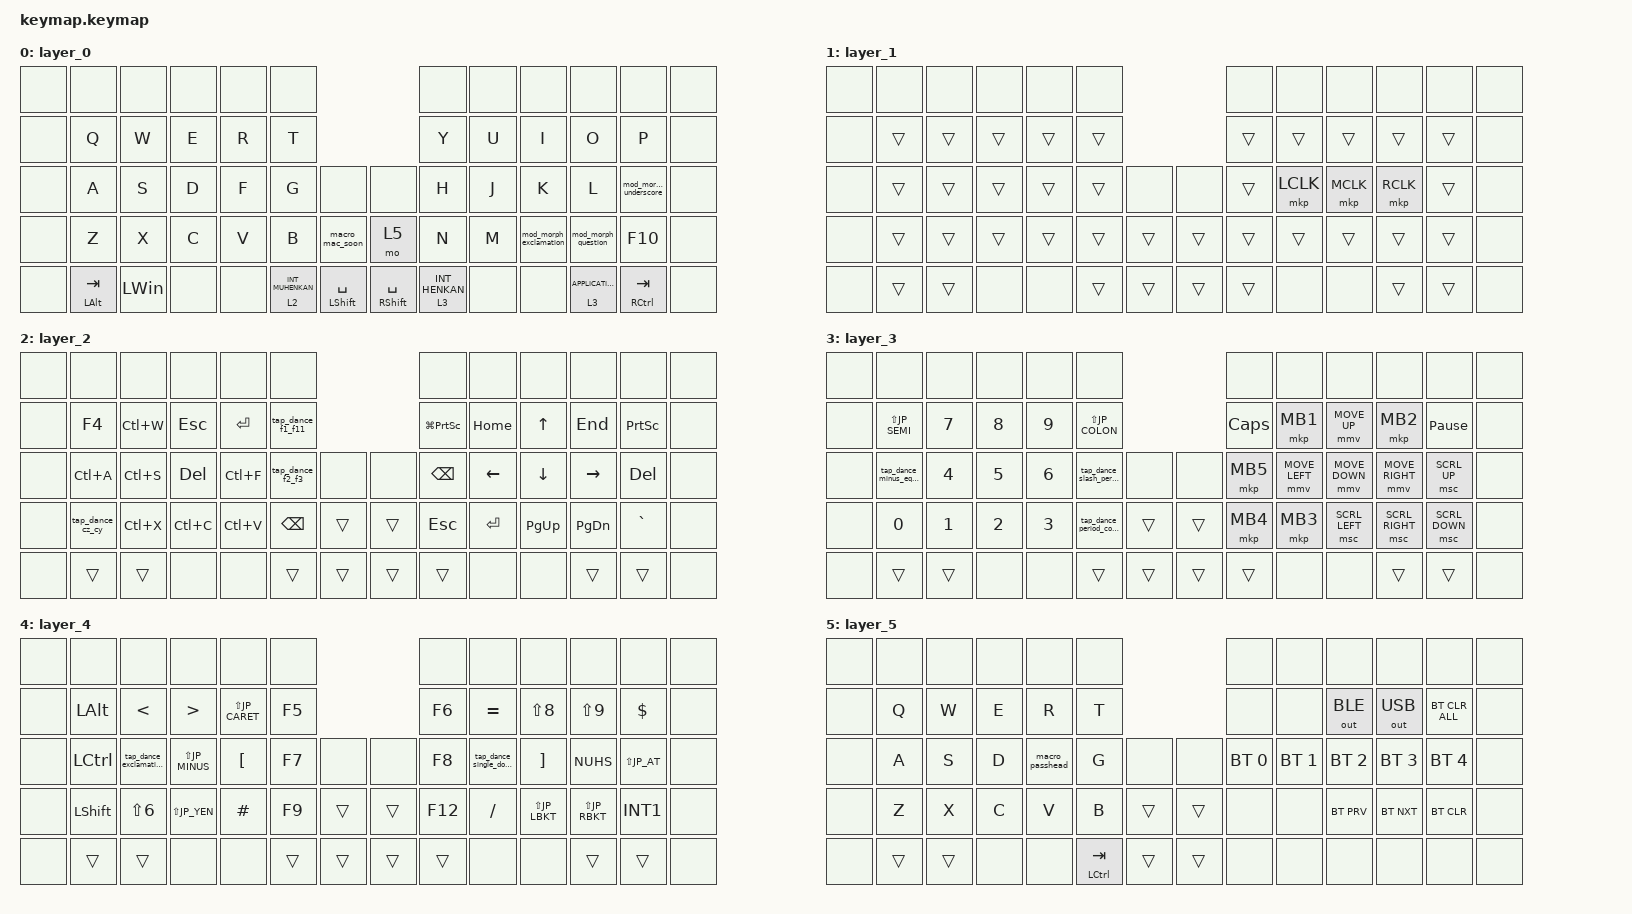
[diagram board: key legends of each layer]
#include <behaviors.dtsi>
#include <dt-bindings/zmk/bt.h>
#include <dt-bindings/zmk/keys.h>
#include <dt-bindings/zmk/outputs.h>
#include <dt-bindings/zmk/pointing.h>

#define JP_ZKHK  GRAVE        // Zenkaku ↔ Hankaku ↔ Kanji (半角 ↔ 全角 ↔ 漢字)
#define JP_MINUS MINUS        // -
#define JP_CARET EQUAL        // ^
#define JP_YEN   INT3         // ¥
#define JP_AT    LBKT         // @
#define JP_LBKT  RBKT         // [
#define JP_EISU  CAPS         // Eisū (英数)
#define JP_SEMI  SEMI         // ;
#define JP_COLON SQT          // :
#define JP_RBKT  NUHS         // ]
#define JP_COMMA COMMA        // ,
#define JP_DOT   DOT          // .
#define JP_SLASH SLASH        // /
#define JP_BSLH  INT1         // (backslash)
#define JP_MHEN  INT5         // Muhenkan (無変換)
#define JP_HENK  INT4         // Henkan (変換)
#define JP_KANA  INT2         // Katakana ↔ Hiragana ↔ Rōmaji (カタカナ ↔ ひらがな ↔ ローマ字)
#define JP_EXCL  LS(N1)       // !
#define JP_DQT   LS(N2)       // "
#define JP_HASH  LS(N3)       // #
#define JP_DLLR  LS(N4)       // $
#define JP_PRCNT LS(N5)       // %
#define JP_AMPS  LS(N6)       // &
#define JP_SQT   LS(N7)       // '
#define JP_LPAR  LS(N8)       // (
#define JP_RPAR  LS(N9)       // )
#define JP_EQUAL LS(JP_MINUS) // =
#define JP_TILDE LS(JP_CARET) // ~
#define JP_PIPE  LS(JP_YEN)   // |
#define JP_GRAVE LS(JP_AT)    // `
#define JP_LBRC  LS(JP_LBKT)  // {
#define JP_CAPS  LS(JP_EISU)  // Caps Lock
#define JP_PLUS  LS(JP_SEMI)  // +
#define JP_ASTRK LS(JP_COLON) // *
#define JP_RBRC  LS(JP_RBKT)  // }
#define JP_LT    LS(JP_COMMA) // <
#define JP_RT    LS(JP_DOT)   // >
#define JP_QMARK LS(JP_SLASH) // ?
#define JP_UNDER LS(JP_BSLH)  // _

&lt {
    flavor = "balanced";
    tapping-term-ms = <160>;
};

&mt {
    flavor = "balanced";
    tapping-term-ms = <160>;
};

&caps_word { continue-list = <UNDERSCORE BACKSPACE DELETE JP_UNDER>; };

/ {
    combos {
        compatible = "zmk,combos";

        combo_alt_spc_m {
            bindings = <&macro_alt_spc_m>;
            key-positions = <27 26>;
        };

        combo_alt_spc_s {
            bindings = <&macro_alt_spc_s>;
            key-positions = <26 28>;
        };

        combo_shift_win_left {
            bindings = <&kp LS(LG(LEFT_ARROW))>;
            key-positions = <13 14>;
        };

        combo_shift_win_right {
            bindings = <&kp LS(LG(RIGHT_ARROW))>;
            key-positions = <27 28>;
        };

        combo_win_tab {
            bindings = <&kp LG(TAB)>;
            key-positions = <39 42>;
        };

        combo_ctl_win_left {
            bindings = <&kp LC(LG(LEFT_ARROW))>;
            key-positions = <39 40>;
        };

        combo_ctl_win_right {
            bindings = <&kp LC(LG(RIGHT_ARROW))>;
            key-positions = <42 41>;
        };

        combo_ctl_win_d {
            bindings = <&kp LC(LG(D))>;
            key-positions = <40 42>;
        };

        combo_ctl_win_f4 {
            bindings = <&kp LC(LG(F4))>;
            key-positions = <39 41>;
        };

        combo_caps_word {
            bindings = <&caps_word>;
            key-positions = <40 41>;
        };

        combo_alt_win_4 {
            bindings = <&kp LA(LG(NUMBER_4))>;
            key-positions = <33 34>;
        };

        combo_alt_win_5 {
            bindings = <&kp LA(LG(NUMBER_5))>;
            key-positions = <34 35>;
        };

        combo_alt_win_6 {
            bindings = <&kp LA(LG(NUMBER_6))>;
            key-positions = <35 36>;
        };

        combo_ctl_sft_a {
            bindings = <&kp LS(LC(A))>;
            key-positions = <33 35>;
        };

        combo_alt_e {
            bindings = <&kp LA(E)>;
            key-positions = <34 36>;
        };

        combo_alt_d {
            bindings = <&kp LA(D)>;
            key-positions = <33 36>;
        };

        combo_ctl_t {
            bindings = <&kp LC(T)>;
            key-positions = <47 49>;
        };

        combo_ctl_w {
            bindings = <&kp LC(W)>;
            key-positions = <48 50>;
        };

        combo_ctl_sft_t {
            bindings = <&kp LS(LC(T))>;
            key-positions = <48 49>;
        };

        combo_ctl_sft_o {
            bindings = <&kp LS(LC(O))>;
            key-positions = <47 50>;
        };

        combo_ctl_pgup {
            bindings = <&kp LC(PAGE_UP)>;
            key-positions = <47 48>;
        };

        combo_ctl_pgdown {
            bindings = <&kp LC(PAGE_DOWN)>;
            key-positions = <49 50>;
        };
    };

    behaviors {
        mod_morph_minus_underscore: mod_morph_minus_underscore {
            compatible = "zmk,behavior-mod-morph";
            label = "MOD_MORPH_MINUS_UNDERSCORE";
            bindings = <&kp MINUS>, <&kp JP_UNDER>;

            #binding-cells = <0>;
            mods = <(MOD_RSFT|MOD_LSFT)>;
        };

        tap_dance_comma_semicolon: tap_dance_comma_semicolon {
            compatible = "zmk,behavior-tap-dance";
            label = "TAP_DANCE_COMMA_SEMICOLON";
            #binding-cells = <0>;
            bindings = <&kp COMMA>, <&kp SEMICOLON>;
        };

        tap_dance_period_colon: tap_dance_period_colon {
            compatible = "zmk,behavior-tap-dance";
            label = "TAP_DANCE_PERIOD_COLON";
            #binding-cells = <0>;
            bindings = <&kp PERIOD>, <&kp JP_COLON>;
        };

        mod_morph_exclamation: mod_morph_exclamation {
            compatible = "zmk,behavior-mod-morph";
            label = "MOD_MORPH_EXCLAMATION";
            bindings = <&tap_dance_comma_semicolon>, <&kp EXCLAMATION>;

            #binding-cells = <0>;
            mods = <(MOD_RSFT|MOD_LSFT)>;
        };

        mod_morph_question: mod_morph_question {
            compatible = "zmk,behavior-mod-morph";
            label = "MOD_MORPH_QUESTION";
            bindings = <&tap_dance_period_colon>, <&kp QUESTION>;

            #binding-cells = <0>;
            mods = <(MOD_RSFT|MOD_LSFT)>;
        };

        tap_dance_f1_f11: tap_dance_f1_f11 {
            compatible = "zmk,behavior-tap-dance";
            label = "TAP_DANCE_F1_F11";
            #binding-cells = <0>;
            bindings = <&kp F1>, <&kp F11>;
        };

        tap_dance_f2_f3: tap_dance_f2_f3 {
            compatible = "zmk,behavior-tap-dance";
            label = "TAP_DANCE_F2_F3";
            #binding-cells = <0>;
            bindings = <&kp F2>, <&kp F3>;
        };

        tap_dance_cz_cy: tap_dance_cz_cy {
            compatible = "zmk,behavior-tap-dance";
            label = "TAP_DANCE_CZ_CY";
            #binding-cells = <0>;
            bindings = <&kp LC(Z)>, <&kp LC(Y)>;
        };

        tap_dance_minus_equal: tap_dance_minus_equal {
            compatible = "zmk,behavior-tap-dance";
            label = "TAP_DANCE_MINUS_EQUAL";
            #binding-cells = <0>;
            bindings = <&kp MINUS>, <&kp JP_EQUAL>;
        };

        tap_dance_slash_percent: tap_dance_slash_percent {
            compatible = "zmk,behavior-tap-dance";
            label = "TAP_DANCE_SLASH_PERCENT";
            #binding-cells = <0>;
            bindings = <&kp SLASH>, <&kp PERCENT>;
        };

        tap_dance_exclamation_question: tap_dance_exclamation_question {
            compatible = "zmk,behavior-tap-dance";
            label = "TAP_DANCE_EXCLAMATION_QUESTION";
            #binding-cells = <0>;
            bindings = <&kp EXCLAMATION>, <&kp QUESTION>;
        };

        tap_dance_single_double: tap_dance_single_double {
            compatible = "zmk,behavior-tap-dance";
            label = "TAP_DANCE_SINGLE_DOUBLE";
            #binding-cells = <0>;
            bindings = <&kp JP_SQT>, <&kp JP_DQT>;
        };

        tap_dance_period_comma: tap_dance_period_comma {
            compatible = "zmk,behavior-tap-dance";
            label = "TAP_DANCE_PERIOD_COMMA";
            #binding-cells = <0>;
            bindings = <&kp PERIOD>, <&kp COMMA>;
        };
    };

    macros {
        macro_alt_spc_m: macro_alt_spc_m {
            compatible = "zmk,behavior-macro";
            #binding-cells = <0>;
            bindings = <&kp LA(SPACE) &kp M>;
            label = "MACRO_ALT_SPC_M";
        };

        macro_alt_spc_s: macro_alt_spc_s {
            compatible = "zmk,behavior-macro";
            #binding-cells = <0>;
            bindings = <&kp LA(SPACE) &kp S>;
            label = "MACRO_ALT_SPC_S";
        };

        macro_passhead: macro_passhead {
            compatible = "zmk,behavior-macro";
            #binding-cells = <0>;
            bindings = <&none &kp LS(T) &kp JP_AT &kp K &kp N3>;
            label = "MACRO_PASSHEAD";
        };

        macro_mac_soon: macro_mac_soon {
            compatible = "zmk,behavior-macro";
            #binding-cells = <0>;
            bindings
                = <&macro_wait_time 10>
                , <&kp LS(M) &kp A &kp C &kp SPACE &kp LS(L) &kp A &kp Y &kp E &kp R &kp SPACE &kp C &kp O &kp M &kp I &kp N &kp G &kp SPACE &kp S &kp O &kp O &kp N &kp DOT &kp DOT &kp DOT>;
            label = "MACRO_MAC_SOON";
        };
    };

    keymap {
        compatible = "zmk,keymap";

        layer_0 {
            bindings = <
&none  &none             &none         &none  &none  &none                                              &none             &none  &none                    &none                &none                        &none
&none  &kp Q             &kp W         &kp E  &kp R  &kp T                                              &kp Y             &kp U  &kp I                    &kp O                &kp P                        &none
&none  &kp A             &kp S         &kp D  &kp F  &kp G               &none                  &none   &kp H             &kp J  &kp K                    &kp L                &mod_morph_minus_underscore  &none
&none  &kp Z             &kp X         &kp C  &kp V  &kp B               &macro_mac_soon        &mo 5   &kp N             &kp M  &mod_morph_exclamation   &mod_morph_question  &kp F10                      &none
&none  &mt LEFT_ALT TAB  &kp LEFT_WIN  &none  &none  &lt 2 INT_MUHENKAN  &mt LEFT_SHIFT SPACE   &mt RIGHT_SHIFT SPACE &lt 3 INT_HENKAN &none  &none                    &lt 3 K_APPLICATION  &mt RIGHT_CONTROL TAB        &none
            >;
        };

        layer_1 {
            bindings = <
&none  &none   &none   &none   &none   &none                   &none   &none      &none      &none      &none   &none
&none  &trans  &trans  &trans  &trans  &trans                  &trans  &trans     &trans     &trans     &trans  &none
&none  &trans  &trans  &trans  &trans  &trans  &none   &none   &trans  &mkp LCLK  &mkp MCLK  &mkp RCLK  &trans  &none
&none  &trans  &trans  &trans  &trans  &trans  &trans  &trans  &trans  &trans     &trans     &trans     &trans  &none
&none  &trans  &trans  &none   &none   &trans  &trans  &trans  &trans  &none      &none      &trans     &trans  &none
            >;
        };

        layer_2 {
            bindings = <
&none  &none             &none      &none       &none      &none                              &none                &none            &none           &none            &none            &none
&none  &kp F4            &kp LC(W)  &kp ESCAPE  &kp ENTER  &tap_dance_f1_f11                  &kp LG(PRINTSCREEN)  &kp HOME         &kp UP_ARROW    &kp END          &kp PRINTSCREEN  &none
&none  &kp LC(A)         &kp LC(S)  &kp DELETE  &kp LC(F)  &tap_dance_f2_f3   &none   &none   &kp BACKSPACE        &kp LEFT_ARROW   &kp DOWN_ARROW  &kp RIGHT_ARROW  &kp DELETE       &none
&none  &tap_dance_cz_cy  &kp LC(X)  &kp LC(C)   &kp LC(V)  &kp BACKSPACE      &trans  &trans  &kp ESCAPE           &kp ENTER        &kp PAGE_UP     &kp PAGE_DOWN    &kp JP_ZKHK      &none
&none  &trans            &trans     &none       &none      &trans             &trans  &trans  &trans               &none            &none           &trans           &trans           &none
            >;
        };

        layer_3 {
            bindings = <
&none  &none                   &none         &none         &none         &none                                     &none          &none            &none           &none            &none            &none
&none  &kp JP_PLUS             &kp NUMBER_7  &kp NUMBER_8  &kp NUMBER_9  &kp JP_ASTRK                              &kp CAPSLOCK   &mkp MB1         &mmv MOVE_UP    &mkp MB2         &kp PAUSE_BREAK  &none
&none  &tap_dance_minus_equal  &kp NUMBER_4  &kp NUMBER_5  &kp NUMBER_6  &tap_dance_slash_percent  &none   &none   &mkp MB5       &mmv MOVE_LEFT   &mmv MOVE_DOWN  &mmv MOVE_RIGHT  &msc SCRL_UP     &none
&none  &kp NUMBER_0            &kp NUMBER_1  &kp NUMBER_2  &kp NUMBER_3  &tap_dance_period_comma   &trans  &trans  &mkp MB4       &mkp MB3         &msc SCRL_LEFT  &msc SCRL_RIGHT  &msc SCRL_DOWN   &none
&none  &trans                  &trans        &none         &none         &trans                    &trans  &trans  &trans         &none            &none           &trans           &trans           &none
            >;
        };

        layer_4 {
            bindings = <
&none  &none           &none                            &none             &none         &none                  &none    &none                      &none        &none        &none         &none
&none  &kp LALT        &kp LESS_THAN                    &kp GREATER_THAN  &kp JP_TILDE  &kp F5                 &kp F6   &kp JP_CARET               &kp JP_LPAR  &kp JP_RPAR  &kp DOLLAR    &none
&none  &kp LCTRL       &tap_dance_exclamation_question  &kp JP_EQUAL      &kp JP_AT     &kp F7  &none   &none  &kp F8   &tap_dance_single_double  &kp JP_LBKT  &kp JP_RBKT  &kp JP_GRAVE  &none
&none  &kp LEFT_SHIFT  &kp JP_AMPS                      &kp JP_PIPE       &kp HASH      &kp F9  &trans  &trans &kp F12  &kp SLASH                  &kp JP_LBRC  &kp JP_RBRC  &kp JP_BSLH   &none
&none  &trans          &trans                           &none             &none         &trans  &trans  &trans &trans   &none                      &none        &trans       &trans        &none
            >;
        };

        layer_5 {
            bindings = <
&none  &none   &none   &none  &none            &none                          &none         &none         &none         &none         &none           &none
&none  &kp Q   &kp W   &kp E  &kp R            &kp T                          &none         &none         &out OUT_BLE  &out OUT_USB  &bt BT_CLR_ALL  &none
&none  &kp A   &kp S   &kp D  &macro_passhead  &kp G           &none   &none  &bt BT_SEL 0  &bt BT_SEL 1  &bt BT_SEL 2  &bt BT_SEL 3  &bt BT_SEL 4    &none
&none  &kp Z   &kp X   &kp C  &kp V            &kp B           &trans  &trans &none         &none         &bt BT_PRV    &bt BT_NXT    &bt BT_CLR      &none
&none  &trans  &trans  &none  &none            &mt LCTRL TAB   &trans  &trans &none         &none         &none         &none         &none           &none
            >;
        };
    };

    conditional_layers {
        compatible = "zmk,conditional-layers";

        condition {
            if-layers = <2 3>;
            then-layer = <4>;
        };
    };
};
